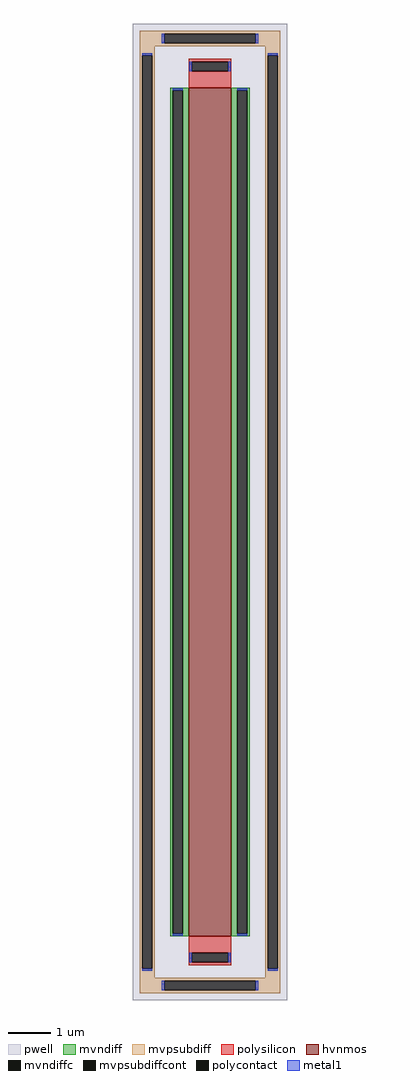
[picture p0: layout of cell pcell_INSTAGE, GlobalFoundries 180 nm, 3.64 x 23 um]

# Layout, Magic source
magic
tech gf180mcuD
magscale 1 10
<< pwell >>
rect -364 -2300 364 2300
<< hvnmos >>
rect -100 -2000 100 2000
<< mvndiff >>
rect -188 1987 -100 2000
rect -188 -1987 -175 1987
rect -129 -1987 -100 1987
rect -188 -2000 -100 -1987
rect 100 1987 188 2000
rect 100 -1987 129 1987
rect 175 -1987 188 1987
rect 100 -2000 188 -1987
<< mvndiffc >>
rect -175 -1987 -129 1987
rect 129 -1987 175 1987
<< mvpsubdiff >>
rect -332 2255 332 2268
rect -332 2209 -216 2255
rect 216 2209 332 2255
rect -332 2196 332 2209
rect -332 2152 -260 2196
rect -332 -2152 -319 2152
rect -273 -2152 -260 2152
rect 260 2152 332 2196
rect -332 -2196 -260 -2152
rect 260 -2152 273 2152
rect 319 -2152 332 2152
rect 260 -2196 332 -2152
rect -332 -2209 332 -2196
rect -332 -2255 -216 -2209
rect 216 -2255 332 -2209
rect -332 -2268 332 -2255
<< mvpsubdiffcont >>
rect -216 2209 216 2255
rect -319 -2152 -273 2152
rect 273 -2152 319 2152
rect -216 -2255 216 -2209
<< polysilicon >>
rect -100 2123 100 2136
rect -100 2077 -87 2123
rect 87 2077 100 2123
rect -100 2000 100 2077
rect -100 -2077 100 -2000
rect -100 -2123 -87 -2077
rect 87 -2123 100 -2077
rect -100 -2136 100 -2123
<< polycontact >>
rect -87 2077 87 2123
rect -87 -2123 87 -2077
<< metal1 >>
rect -227 2209 -216 2255
rect 216 2209 227 2255
rect -319 2152 -273 2163
rect 273 2152 319 2163
rect -98 2077 -87 2123
rect 87 2077 98 2123
rect -175 1987 -129 1998
rect -175 -1998 -129 -1987
rect 129 1987 175 1998
rect 129 -1998 175 -1987
rect -98 -2123 -87 -2077
rect 87 -2123 98 -2077
rect -319 -2163 -273 -2152
rect 273 -2163 319 -2152
rect -227 -2255 -216 -2209
rect 216 -2255 227 -2209
<< properties >>
string FIXED_BBOX -2960 -22320 2960 22320
<< end >>
